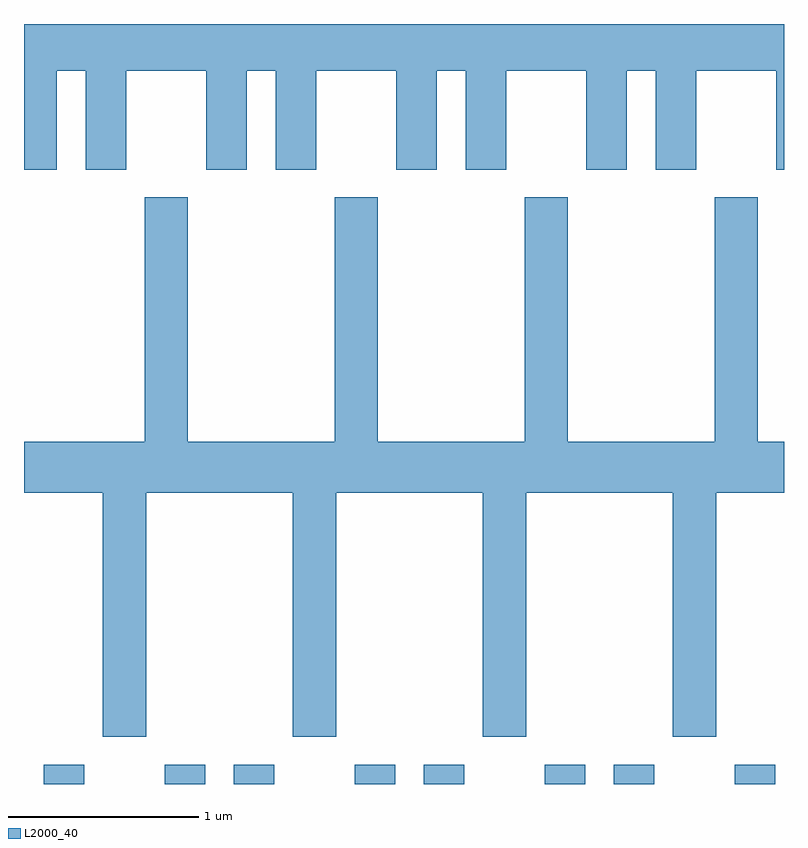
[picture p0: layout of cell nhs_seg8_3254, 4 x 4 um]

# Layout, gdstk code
import gdstk
lib = gdstk.Library(unit=1e-6, precision=1e-09)
def R(c, l, rs):  # rectangles x0, y0, x1, y1
    for r in rs: c.add(gdstk.rectangle(r[:2], r[2:], *l))
def P(c, l, *ps):  # polygons
    for p in ps: c.add(gdstk.Polygon(p, *l))
L2000_40 = (2000, 40)

nhs_seg8_3254 = lib.new_cell('nhs_seg8_3254')
R(nhs_seg8_3254, L2000_40, [(281.716,1930.342,281.929,1930.444), (282.351,1930.342,282.564,1930.444), (282.716,1930.342,282.929,1930.444), (283.351,1930.342,283.564,1930.444), (283.716,1930.342,283.929,1930.444), (284.351,1930.342,284.564,1930.444), (284.716,1930.342,284.929,1930.444), (285.351,1930.342,285.564,1930.444)])
P(nhs_seg8_3254, L2000_40, [(281.784,1934.096),(281.936,1934.096),(281.936,1933.576),(282.149,1933.576),(282.149,1934.096),(282.571,1934.096),(282.571,1933.576),(282.784,1933.576),(282.784,1934.096),(282.936,1934.096),(282.936,1933.576),(283.149,1933.576),(283.149,1934.096),(283.571,1934.096),(283.571,1933.576),(283.784,1933.576),(283.784,1934.096),(283.936,1934.096),(283.936,1933.576),(284.149,1933.576),(284.149,1934.096),(284.571,1934.096),(284.571,1933.576),(284.784,1933.576),(284.784,1934.096),(284.936,1934.096),(284.936,1933.576),(285.149,1933.576),(285.149,1934.096),(285.571,1934.096),(285.571,1933.576),(285.611,1933.576),(285.611,1934.342),(281.611,1934.342),(281.611,1933.576),(281.784,1933.576)],
  [(282.254,1931.876),(283.026,1931.876),(283.026,1930.591),(283.254,1930.591),(283.254,1931.876),(284.026,1931.876),(284.026,1930.591),(284.254,1930.591),(284.254,1931.876),(285.026,1931.876),(285.026,1930.591),(285.254,1930.591),(285.254,1931.876),(285.611,1931.876),(285.611,1932.144),(285.474,1932.144),(285.474,1933.429),(285.246,1933.429),(285.246,1932.144),(284.474,1932.144),(284.474,1933.429),(284.246,1933.429),(284.246,1932.144),(283.474,1932.144),(283.474,1933.429),(283.246,1933.429),(283.246,1932.144),(282.474,1932.144),(282.474,1933.429),(282.246,1933.429),(282.246,1932.144),(281.611,1932.144),(281.611,1931.876),(282.026,1931.876),(282.026,1930.591),(282.254,1930.591)])

lib.write_gds('nhs_seg8_3254.gds')
